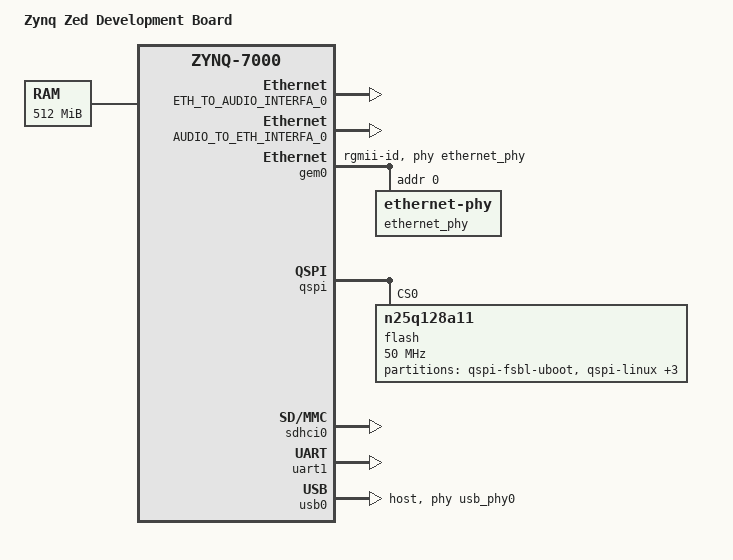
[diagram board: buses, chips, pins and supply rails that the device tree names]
/*
 * Xilinx ZED board DTS
 *
 *  Copyright (C) 2011 - 2015 Xilinx
 *  Copyright (C) 2012 National Instruments Corp.
 *
 * SPDX-License-Identifier:	GPL-2.0+
 */
/dts-v1/;
/include/"zynq-7000.dtsi"

/ {
	model = "Zynq Zed Development Board";
	compatible = "xlnx,zynq-zed", "xlnx,zynq-7000";

	ETH_TO_AUDIO_INTERFA_0: ETH_TO_AUDIO_INTERFACE_0@43C70000 {
    	compatible = "generic-uio";
    	reg = < 0x43C70000 0x10000 >;
    	interrupt-parent = <&intc>;
    	interrupts = <0 54 1>; //IRQ_F2P[15:0] ==10== [91:84],[68:61] ==> 86 - 32 = 54
	};

	FILTER_IIR_0: FILTER_IIR_0@43C00000 {
    	compatible = "generic-uio";
    	reg = < 0x43C00000 0x10000 >;
    	interrupt-parent = <&intc>;
    	interrupts = <0 29 1>;//IRQ_F2P[15:0] == 0 == [91:84],[68:61] ==> 61 - 32 = 29
	};

	VOLUME_PREGAIN_0: VOLUME_PREGAIN_0@43C10000 {
    	compatible = "generic-uio";
    	reg = < 0x43C10000 0x10000 >;
    	interrupt-parent = <&intc>;
    	interrupts = <0 30 1>;//IRQ_F2P[15:0] == 1 == [91:84],[68:61] ==> 62 - 32 = 30
	};

	FILTER_IIR_1: FILTER_IIR_1@43C40000 {
    	compatible = "generic-uio";
    	reg = < 0x43C40000 0x10000 >;
    	interrupt-parent = <&intc>;
    	interrupts = <0 31 1>;//IRQ_F2P[15:0] == 2 == [91:84],[68:61] ==> 63 - 32 = 31
	};

	VOLUME_PREGAIN_1: VOLUME_PREGAIN_1@43C30000 {
    	compatible = "generic-uio";
    	reg = < 0x43C30000 0x10000 >;
    	interrupt-parent = <&intc>;
    	interrupts = <0 32 1>;//IRQ_F2P[15:0] == 3 == [91:84],[68:61] ==> 64 - 32 = 32
	};

	ZEDBOARDOLED_0: ZEDBOARDOLED_0@43C20000 {
    	compatible = "generic-uio";
    	reg = < 0x43C20000 0x10000 >;
	};

	PMOD_CONTROLLER_0: PMOD_CONTROLLER_0@43C60000 {
    	compatible = "generic-uio";
    	reg = < 0x43C60000 0x10000 >;
    	interrupt-parent = <&intc>;
    	interrupts = <0 34 1>;//IRQ_F2P[15:0] ==5== [91:84],[68:61] ==> 66 - 32 = 34
	};
	
	AUDIO_TO_ETH_INTERFA_0: AUDIO_TO_ETH_INTERFACE@43C50000 {
		compatible = "generic-uio";
		reg = <0x43c50000 0x10000>;
		interrupt-parent = <&intc>;
		interrupts = <0 53 1>;//IRQ_F2P[15:0] ==9== [91:84],[68:61] ==> 85 - 32 = 53
	};
	
	full_udp_stack_ip_0: full_udp_stack_ip@43c80000 {
			/* This is a place holder node for a custom IP, user may need to update the entries */
			compatible = "generic-uio";
			reg = <0x43c80000 0x10000>;
			xlnx,s00-axi-addr-width = <0x7>;
			xlnx,s00-axi-data-width = <0x20>;
		};
		
	user_org_pkt_seq_ip_0: user_org_pkt_seq_ip_v1_0@43c90000 {
			/* This is a place holder node for a custom IP, user may need to update the entries */
			
			compatible = "generic-uio";
			reg = <0x43c90000 0x10000>;
			xlnx,fm-audio-s-axis-tdata-width = <0x20>;
			xlnx,fm-udp-s-axis-tdata-width = <0x20>;
			xlnx,s00-axi-addr-width = <0x4>;
			xlnx,s00-axi-data-width = <0x20>;
			xlnx,to-audio-m-axis-start-count = <0x20>;
			xlnx,to-audio-m-axis-tdata-width = <0x20>;
			xlnx,to-udp-m-axis-start-count = <0x20>;
			xlnx,to-udp-m-axis-tdata-width = <0x20>;
		};
		
	

	axi_gpio_0: axi_gpio_0@41200000 {
    	compatible = "xlnx,xps-gpio-1.00.a";
    	reg = < 0x41200000 0x10000 >;
    	gpio-controller;
    	interrupt-parent = <&intc>;
    	interrupts = <0 35 1>;//IRQ_F2P[15:0] == [91:84],[68:61] ==> 61 - 32 = 29
	};

	axi_gpio_1: axi_gpio_1@41210000 {
    	compatible = "xlnx,xps-gpio-1.00.a";
    	reg = < 0x41210000 0x10000 >;
    	gpio-controller;
    	interrupt-parent = <&intc>;
    	interrupts = <0 36 1>;//IRQ_F2P[15:0] == [91:84],[68:61] ==> 61 - 32 = 29
	};
	
	axi_gpio_2: axi_gpio_2@41220000 {
    	compatible = "xlnx,xps-gpio-1.00.a";
    	reg = < 0x41220000 0x10000 >;
    	gpio-controller;
    	interrupt-parent = <&intc>;
    	interrupts = <0 37 1>;//IRQ_F2P[15:0] == [91:84],[68:61] ==> 61 - 32 = 29
	};

	aliases {
		ethernet0 = &gem0;
		serial0 = &uart1;
		spi0 = &qspi;
		mmc0 = &sdhci0;
	};

	memory@0 {
		device_type = "memory";
		reg = <0x0 0x20000000>;
	};

	chosen {
		bootargs = "";
		stdout-path = "serial0:115200n8";
	};

	usb_phy0: phy0@e0002000 {
		compatible = "ulpi-phy";
		#phy-cells = <0>;
		reg = <0xe0002000 0x1000>;
		view-port = <0x0170>;
		drv-vbus;
	};
};

&clkc {
	ps-clk-frequency = <33333333>;
};

&gem0 {
	status = "okay";
	phy-mode = "rgmii-id";
	phy-handle = <&ethernet_phy>;

	ethernet_phy: ethernet-phy@0 {
		reg = <0>;
		device_type = "ethernet-phy";
	};
};

&qspi {
	u-boot,dm-pre-reloc;
	status = "okay";
	is-dual = <0>;
	num-cs = <1>;
	flash@0 {
		compatible = "n25q128a11";
		reg = <0x0>;
		spi-tx-bus-width = <1>;
		spi-rx-bus-width = <4>;
		spi-max-frequency = <50000000>;
		#address-cells = <1>;
		#size-cells = <1>;
		partition@qspi-fsbl-uboot {
			label = "qspi-fsbl-uboot";
			reg = <0x0 0x100000>;
		};
		partition@qspi-linux {
			label = "qspi-linux";
			reg = <0x100000 0x500000>;
		};
		partition@qspi-device-tree {
			label = "qspi-device-tree";
			reg = <0x600000 0x20000>;
		};
		partition@qspi-rootfs {
			label = "qspi-rootfs";
			reg = <0x620000 0x5E0000>;
		};
		partition@qspi-bitstream {
			label = "qspi-bitstream";
			reg = <0xC00000 0x400000>;
		};
	};
};

&sdhci0 {
	u-boot,dm-pre-reloc;
	status = "okay";
};

&uart1 {
	u-boot,dm-pre-reloc;
	status = "okay";
};

&usb0 {
	status = "okay";
	dr_mode = "host";
	usb-phy = <&usb_phy0>;
};
